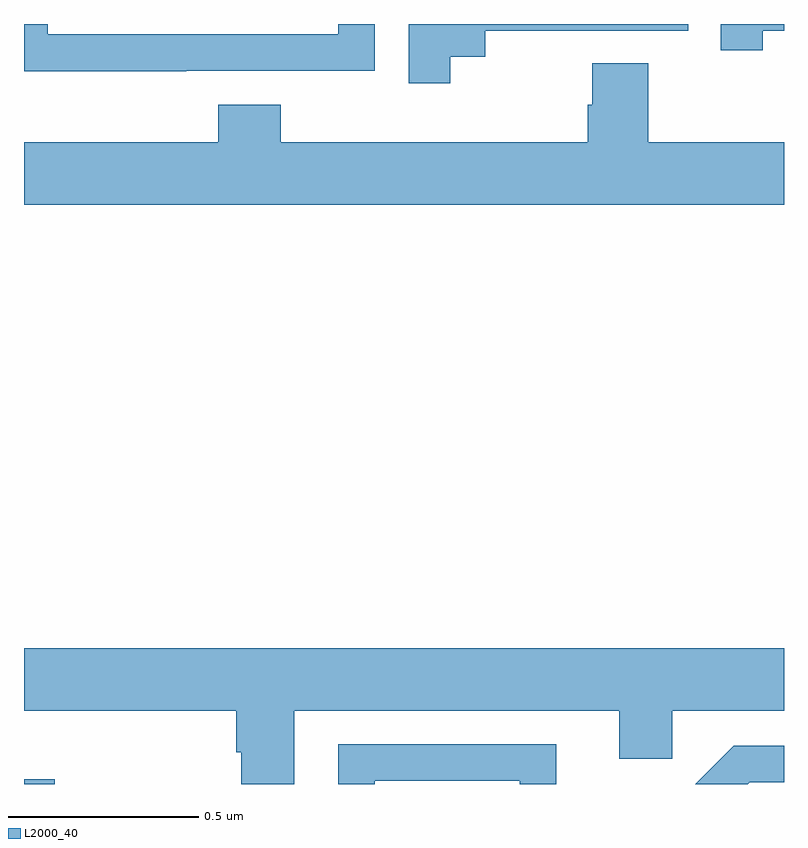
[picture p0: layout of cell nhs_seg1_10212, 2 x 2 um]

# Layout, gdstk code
import gdstk
lib = gdstk.Library(unit=1e-6, precision=1e-09)
def R(c, l, rs):  # rectangles x0, y0, x1, y1
    for r in rs: c.add(gdstk.rectangle(r[:2], r[2:], *l))
def P(c, l, *ps):  # polygons
    for p in ps: c.add(gdstk.Polygon(p, *l))
L2000_40 = (2000, 40)

nhs_seg1_10212 = lib.new_cell('nhs_seg1_10212')
R(nhs_seg1_10212, L2000_40, [(238,558.199,238.081,558.211)])
P(nhs_seg1_10212, L2000_40, [(238.427,560.076),(238.923,560.076),(238.923,560.199),(238.827,560.199),(238.827,560.172),(238.062,560.172),(238.062,560.199),(238,560.199),(238,560.075),(238.427,560.075)],
  [(239.122,560.113),(239.214,560.113),(239.214,560.181),(239.748,560.181),(239.748,560.199),(239.013,560.199),(239.013,560.043),(239.122,560.043)],
  [(239.944,560.181),(240,560.181),(240,560.199),(239.833,560.199),(239.833,560.13),(239.944,560.13)],
  [(240,559.888),(239.643,559.888),(239.643,560.096),(239.495,560.096),(239.495,559.986),(239.483,559.986),(239.483,559.888),(238.676,559.888),(238.676,559.987),(238.511,559.987),(238.511,559.888),(238,559.888),(238,559.724),(240,559.724)],
  [(238.711,558.392),(239.567,558.392),(239.567,558.265),(239.706,558.265),(239.706,558.392),(240,558.392),(240,558.556),(238,558.556),(238,558.392),(238.559,558.392),(238.559,558.283),(238.572,558.283),(238.572,558.199),(238.711,558.199)],
  [(238.923,558.207),(239.304,558.207),(239.304,558.199),(239.401,558.199),(239.401,558.303),(238.827,558.303),(238.827,558.199),(238.923,558.199)],
  [(239.91,558.204),(240,558.204),(240,558.3),(239.868,558.3),(239.767,558.199),(239.905,558.199)])

lib.write_gds('nhs_seg1_10212.gds')
